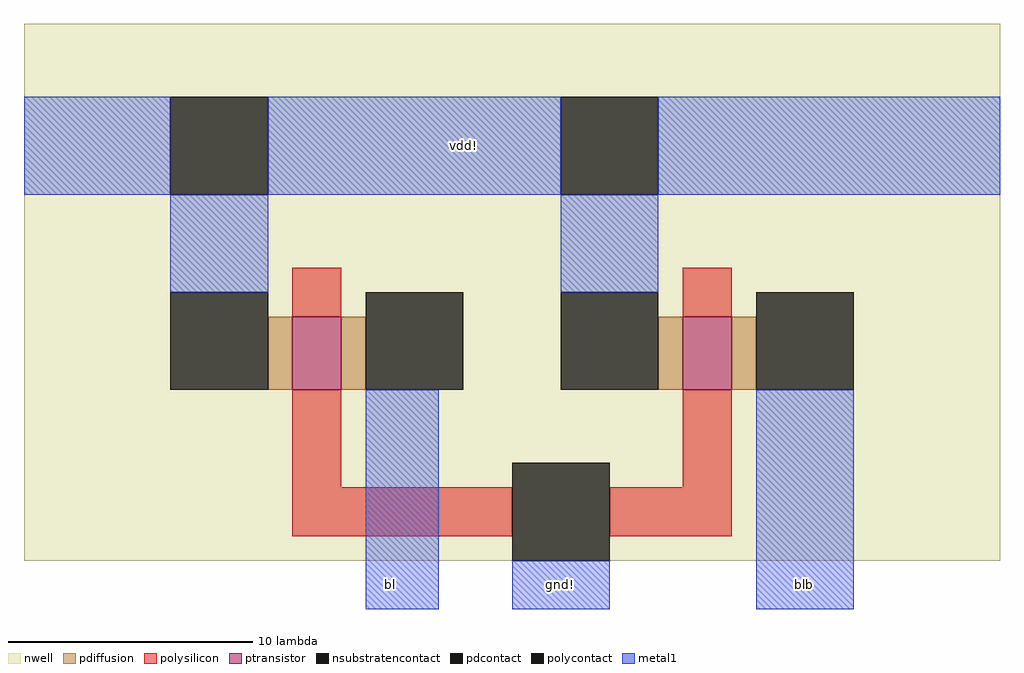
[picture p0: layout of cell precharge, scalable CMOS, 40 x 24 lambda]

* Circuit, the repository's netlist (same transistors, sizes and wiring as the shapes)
* SPICE3 file created from precharge.ext - technology: scmos

.option scale=0.1u

M1000 bl gnd vdd vdd pfet w=3 l=2
+  ad=19 pd=18 as=38 ps=36
M1001 blb gnd vdd vdd pfet w=3 l=2
+  ad=19 pd=18 as=0 ps=0

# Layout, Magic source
magic
tech scmos
<< nwell >>
rect -13 -8 27 14
<< ptransistor >>
rect -2 -1 0 2
rect 14 -1 16 2
<< pdiffusion >>
rect -3 -1 -2 2
rect 0 -1 1 2
rect 13 -1 14 2
rect 16 -1 17 2
<< pdcontact >>
rect -7 -1 -3 3
rect 1 -1 5 3
rect 9 -1 13 3
rect 17 -1 21 3
<< nsubstratencontact >>
rect -7 7 -3 11
rect 9 7 13 11
<< polysilicon >>
rect -2 2 0 4
rect 14 2 16 4
rect -2 -5 0 -1
rect -2 -7 7 -5
rect 14 -5 16 -1
rect 11 -7 16 -5
<< polycontact >>
rect 7 -8 11 -4
<< metal1 >>
rect -13 7 -7 11
rect -3 7 9 11
rect 13 7 27 11
rect -7 3 -3 7
rect 9 3 13 7
rect 1 -10 4 -1
rect 7 -10 11 -8
rect 17 -10 21 -1
<< labels >>
rlabel metal1 5 9 5 9 5 vdd!
rlabel metal1 2 -9 2 -9 1 bl
rlabel metal1 19 -9 19 -9 1 blb
rlabel metal1 9 -9 9 -9 1 gnd!
<< end >>
